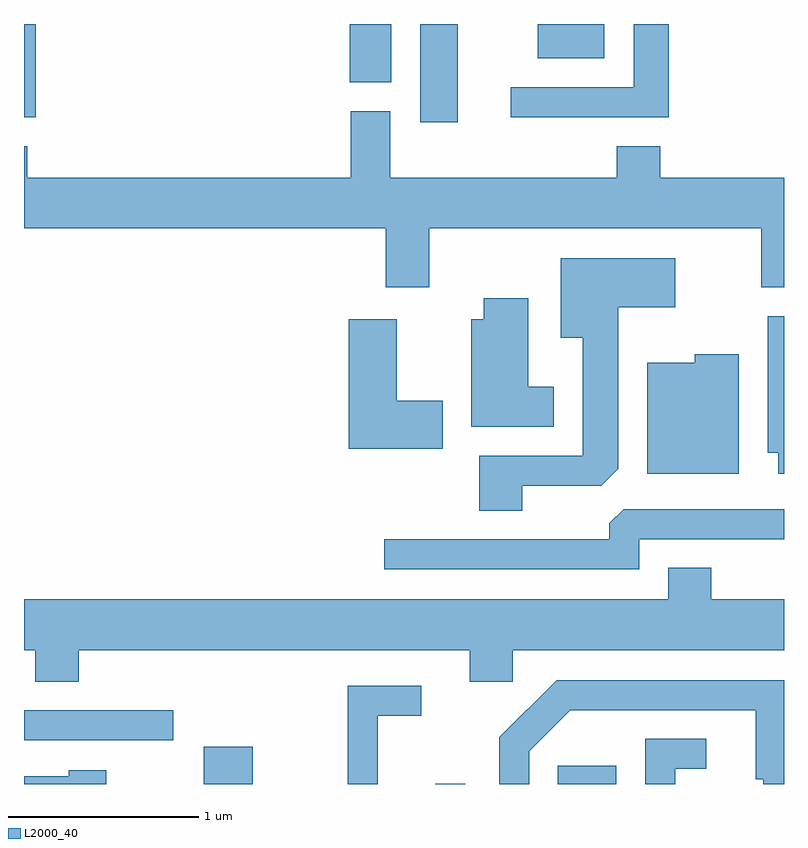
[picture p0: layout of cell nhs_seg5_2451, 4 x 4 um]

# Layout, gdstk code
import gdstk
lib = gdstk.Library(unit=1e-6, precision=1e-09)
def R(c, l, rs):  # rectangles x0, y0, x1, y1
    for r in rs: c.add(gdstk.rectangle(r[:2], r[2:], *l))
def P(c, l, *ps):  # polygons
    for p in ps: c.add(gdstk.Polygon(p, *l))
L2000_40 = (2000, 40)

nhs_seg5_2451 = lib.new_cell('nhs_seg5_2451')
R(nhs_seg5_2451, L2000_40, [(258.556,1476.072,258.814,1476.269), (259.776,1476.072,259.934,1476.073), (260.421,1476.072,260.729,1476.169), (257.611,1476.301,258.397,1476.459), (259.696,1479.556,259.894,1480.072), (257.611,1479.581,257.674,1480.072), (259.326,1479.766,259.544,1480.072), (260.316,1479.891,260.664,1480.072)])
P(nhs_seg5_2451, L2000_40, [(261.004,1480.072),(260.821,1480.072),(260.821,1479.739),(260.173,1479.739),(260.173,1479.581),(261.004,1479.581)],
  [(259.744,1478.996),(261.491,1478.996),(261.491,1478.686),(261.611,1478.686),(261.611,1479.264),(260.959,1479.264),(260.959,1479.429),(260.731,1479.429),(260.731,1479.264),(259.539,1479.264),(259.539,1479.614),(259.331,1479.614),(259.331,1479.264),(257.629,1479.264),(257.629,1479.429),(257.611,1479.429),(257.611,1478.996),(259.516,1478.996),(259.516,1478.686),(259.744,1478.686)],
  [(260.234,1477.641),(260.649,1477.641),(260.739,1477.732),(260.739,1478.581),(261.039,1478.581),(261.039,1478.839),(260.436,1478.839),(260.436,1478.421),(260.551,1478.421),(260.551,1477.799),(260.006,1477.799),(260.006,1477.511),(260.234,1477.511)],
  [(260.399,1478.164),(260.264,1478.164),(260.264,1478.629),(260.031,1478.629),(260.031,1478.519),(259.966,1478.519),(259.966,1477.951),(260.399,1477.951)],
  [(261.611,1478.534),(261.526,1478.534),(261.526,1477.816),(261.581,1477.816),(261.581,1477.706),(261.611,1477.706)],
  [(259.814,1478.089),(259.574,1478.089),(259.574,1478.519),(259.321,1478.519),(259.321,1477.836),(259.814,1477.836)],
  [(261.374,1478.334),(261.141,1478.334),(261.141,1478.289),(260.891,1478.289),(260.891,1477.706),(261.374,1477.706)],
  [(260.849,1477.361),(261.611,1477.361),(261.611,1477.519),(260.767,1477.519),(260.691,1477.444),(260.691,1477.359),(259.508,1477.359),(259.508,1477.201),(260.849,1477.201)],
  [(257.899,1476.776),(259.956,1476.776),(259.956,1476.611),(260.184,1476.611),(260.184,1476.776),(261.611,1476.776),(261.611,1477.044),(261.229,1477.044),(261.229,1477.209),(261.001,1477.209),(261.001,1477.044),(257.611,1477.044),(257.611,1476.776),(257.671,1476.776),(257.671,1476.611),(257.899,1476.611)],
  [(260.269,1476.244),(260.486,1476.461),(261.461,1476.461),(261.461,1476.096),(261.501,1476.096),(261.501,1476.072),(261.611,1476.072),(261.611,1476.619),(260.414,1476.619),(260.111,1476.317),(260.111,1476.072),(260.269,1476.072)],
  [(259.474,1476.431),(259.703,1476.431),(259.703,1476.589),(259.316,1476.589),(259.316,1476.072),(259.474,1476.072)],
  [(261.039,1476.151),(261.203,1476.151),(261.203,1476.309),(260.881,1476.309),(260.881,1476.072),(261.039,1476.072)],
  [(258.044,1476.144),(257.846,1476.144),(257.846,1476.114),(257.611,1476.114),(257.611,1476.072),(258.044,1476.072)])

lib.write_gds('nhs_seg5_2451.gds')
